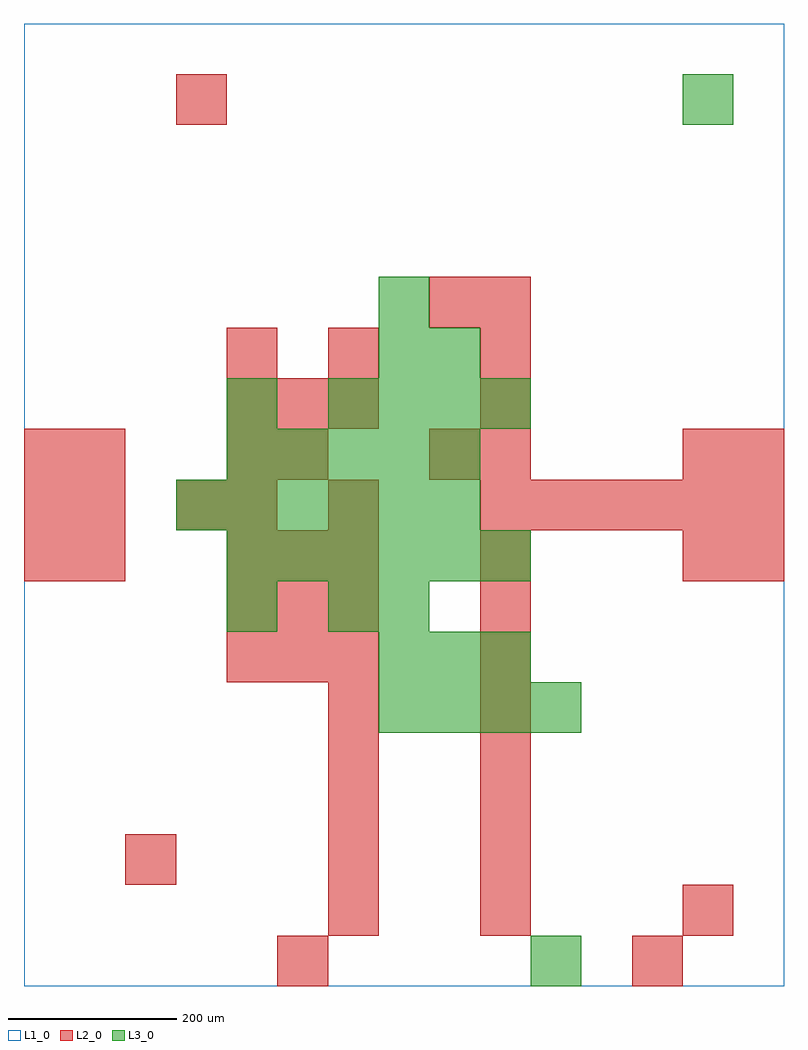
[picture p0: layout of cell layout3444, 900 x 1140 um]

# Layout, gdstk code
import gdstk
lib = gdstk.Library(unit=1e-6, precision=1e-09)
def R(c, l, rs):  # rectangles x0, y0, x1, y1
    for r in rs: c.add(gdstk.rectangle(r[:2], r[2:], *l))
def A(c, l, x, y, w, h, nx, ny, dx, dy):  # array of equal rectangles
    R(c, l, [(x+i*dx, y+j*dy, x+i*dx+w, y+j*dy+h) for i in range(nx) for j in range(ny)])
L1_0 = (1, 0)
L2_0 = (2, 0)
L3_0 = (3, 0)

layout3444 = lib.new_cell('layout3444')
R(layout3444, L1_0, [(0,0,900,1140)])
A(layout3444, L2_0, 360, 60, 60, 60, 1, 5, 0, 60)
A(layout3444, L2_0, 540, 60, 60, 60, 1, 8, 0, 60)
A(layout3444, L2_0, 240, 360, 60, 60, 3, 3, 60, 60)
A(layout3444, L2_0, 0, 480, 60, 60, 1, 3, 0, 60)
A(layout3444, L2_0, 60, 480, 60, 60, 1, 3, 0, 60)
A(layout3444, L2_0, 540, 540, 60, 60, 6, 1, 60, 0)
A(layout3444, L2_0, 540, 600, 60, 60, 1, 4, 0, 60)
A(layout3444, L2_0, 240, 660, 60, 60, 3, 1, 60, 0)
R(layout3444, L2_0, [(300,0,360,60), (720,0,780,60), (780,60,840,120), (120,120,180,180), (780,480,840,540), (840,480,900,540), (180,540,240,600), (240,540,300,600), (360,540,420,600), (240,600,300,660), (300,600,360,660), (480,600,540,660), (780,600,840,660), (840,600,900,660), (240,720,300,780), (360,720,420,780), (480,780,540,840), (180,1020,240,1080)])
A(layout3444, L3_0, 420, 300, 60, 60, 4, 1, 60, 0)
A(layout3444, L3_0, 420, 360, 60, 60, 3, 1, 60, 0)
A(layout3444, L3_0, 240, 480, 60, 60, 6, 1, 60, 0)
A(layout3444, L3_0, 180, 540, 60, 60, 6, 1, 60, 0)
A(layout3444, L3_0, 240, 600, 60, 60, 5, 1, 60, 0)
A(layout3444, L3_0, 360, 660, 60, 60, 4, 1, 60, 0)
R(layout3444, L3_0, [(600,0,660,60), (240,420,300,480), (360,420,420,480), (420,420,480,480), (240,660,300,720), (420,720,480,780), (480,720,540,780), (420,780,480,840), (780,1020,840,1080)])

lib.write_gds('layout3444.gds')
